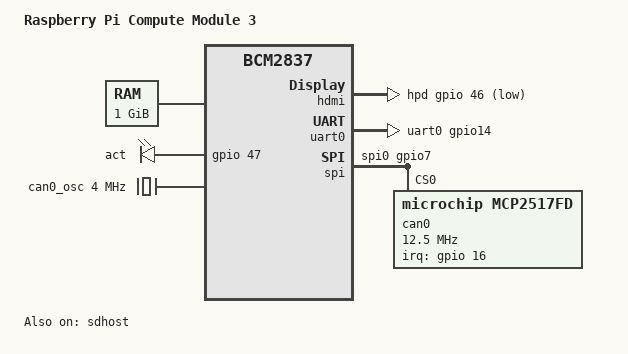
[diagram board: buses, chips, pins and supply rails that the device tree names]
// SPDX-License-Identifier: GPL-2.0
/dts-v1/;
#include "bcm2837.dtsi"
#include "bcm2835-rpi.dtsi"
#include "bcm283x-rpi-usb-host.dtsi"

/ {
	compatible = "raspberrypi,3-compute-model", "brcm,bcm2837";
	model = "Raspberry Pi Compute Module 3";

	memory {
		reg = <0 0x40000000>;
	};

	leds {
		act {
			gpios = <&gpio 47 0>;
		};
	};
};

&hdmi {
	hpd-gpios = <&gpio 46 GPIO_ACTIVE_LOW>;
};

&uart0 {
	pinctrl-names = "default";
	pinctrl-0 = <&uart0_gpio14>;
	status = "okay";
};

/* SDHOST is used to drive the SD card */
&sdhost {
	pinctrl-names = "default";
	pinctrl-0 = <&sdhost_gpio48>;
	status = "okay";
	bus-width = <4>;
};

&gpio {
            can0_pins: can0_pins {
                brcm,pins = <16 17 18>;
                brcm,function = <0>; /* input */
            };
};

&clocks {
            /* external oscillator of mcp2517fd on SPI0.0 */
            can0_osc: can0_osc {
                compatible = "fixed-clock";
                #clock-cells = <0>;
                clock-frequency  = <4000000>;
            };
};

&spi {
       status = "okay";
       pinctrl-names = "default";
       pinctrl-0 = <&spi0_gpio7>;
        can0: mcp2517fd@0 {
                reg = <0>;
                compatible = "microchip,mcp2517fd";
                pinctrl-names = "default";
                pinctrl-0 = <&can0_pins>;
                spi-max-frequency = <12500000>;
                interrupt-parent = <&gpio>;
                interrupts = <16 0x8>;
                clocks = <&can0_osc>;
                microchip,clock_div = <1>;
                microchip,clock_out_div = <10>;
                microchip,gpio0_mode = <1>; /* TX-interrupt output */
                microchip,gpio1_mode = <1>; /* RX-interrupt output */
            };

};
